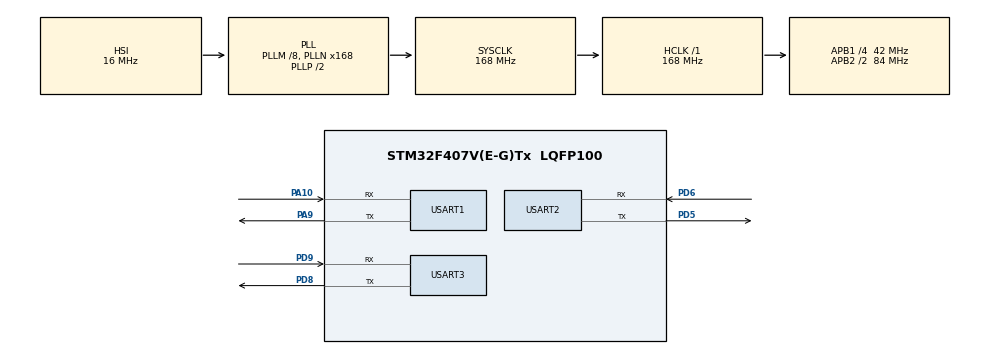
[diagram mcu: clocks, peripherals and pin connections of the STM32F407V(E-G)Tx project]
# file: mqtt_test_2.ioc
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FREERTOS.MEMORY_ALLOCATION=2
FREERTOS.Tasks01=defaultTask,0,2048,StartDefaultTask,As weak,NULL,Static,defaultTaskBuffer,defaultTaskControlBlock
FREERTOS.configENABLE_FPU=1
Mcu.Family=STM32F4
Mcu.Name=STM32F407V(E-G)Tx
Mcu.Package=LQFP100
NVIC.PriorityGroup=NVIC_PRIORITYGROUP_4
NVIC.TIM3_IRQn=true\:0\:0\:false\:false\:true\:false\:false\:true
NVIC.TimeBase=TIM3_IRQn
NVIC.TimeBaseIP=TIM3
NVIC.USART1_IRQn=true\:5\:0\:false\:false\:true\:true\:true\:true
NVIC.USART2_IRQn=true\:5\:0\:false\:false\:true\:true\:true\:true
NVIC.USART3_IRQn=true\:5\:0\:false\:false\:true\:true\:true\:true
PA10.Mode=Asynchronous
PA10.Signal=USART1_RX
PA13.Mode=JTAG_5_pins
PA13.Signal=SYS_JTMS-SWDIO
PA14.Mode=JTAG_5_pins
PA14.Signal=SYS_JTCK-SWCLK
PA15.Mode=JTAG_5_pins
PA15.Signal=SYS_JTDI
PA9.Mode=Asynchronous
PA9.Signal=USART1_TX
PB3.Mode=JTAG_5_pins
PB3.Signal=SYS_JTDO-SWO
PB4.Mode=JTAG_5_pins
PB4.Signal=SYS_JTRST
PD5.Mode=Asynchronous
PD5.Signal=USART2_TX
PD6.Mode=Asynchronous
PD6.Signal=USART2_RX
PD8.Mode=Asynchronous
PD8.Signal=USART3_TX
PD9.Mode=Asynchronous
PD9.Signal=USART3_RX
ProjectManager.HeapSize=0x200
ProjectManager.StackSize=0x400
ProjectManager.TargetToolchain=STM32CubeIDE
RCC.48MHZClocksFreq_Value=84000000
RCC.AHBFreq_Value=168000000
RCC.APB1CLKDivider=RCC_HCLK_DIV4
RCC.APB1Freq_Value=42000000
RCC.APB1TimFreq_Value=84000000
RCC.APB2CLKDivider=RCC_HCLK_DIV2
RCC.APB2Freq_Value=84000000
RCC.APB2TimFreq_Value=168000000
RCC.CortexFreq_Value=168000000
RCC.HCLKFreq_Value=168000000
RCC.HSE_VALUE=25000000
RCC.HSI_VALUE=16000000
RCC.LSE_VALUE=32768
RCC.PLLM=8
RCC.PLLN=168
RCC.SYSCLKFreq_VALUE=168000000
RCC.SYSCLKSource=RCC_SYSCLKSOURCE_PLLCLK
RCC.VCOOutputFreq_Value=336000000
USART1.VirtualMode=VM_ASYNC
USART2.VirtualMode=VM_ASYNC
USART3.VirtualMode=VM_ASYNC
VP_FREERTOS_VS_CMSIS_V1.Mode=CMSIS_V1
VP_SYS_VS_tim3.Mode=TIM3
board=custom

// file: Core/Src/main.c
/* USER CODE BEGIN Header */
/**
  ******************************************************************************
  * @file           : main.c123
  * @brief          : Main program body321
  ******************************************************************************
  * @attention
  *
  * <h2><center>&copy; Copyright (c) 2021 STMicroelectronics.xx
  * All rights reserved.</center></h2>
  *
  * This software component is licensed by ST under Ultimate Liberty license
  * SLA0044, the "License"; You may not use this file except in compliance with
  * the License. You may obtain a copy of the License at:
  *                             www.st.com/SLA0044
  *
  ******************************************************************************
  */
/* USER CODE END Header */

#include "main.h"
#include "cmsis_os.h"

/* USER CODE BEGIN Includes */
#include "core_mqtt.h"
#include <string.h>
/* USER CODE END Includes */

osThreadId defaultTaskHandle;
uint32_t defaultTaskBuffer[ 2048 ];
osStaticThreadDef_t defaultTaskControlBlock;

void SystemClock_Config(void);
static void MX_GPIO_Init(void);
static void MX_USART1_UART_Init(void);
static void MX_USART2_UART_Init(void);
static void MX_USART3_UART_Init(void);
void StartDefaultTask(void const * argument);

int main(void)
{

  /* MCU Configuration--------------------------------------------------------*/

  /* Reset of all peripherals, Initializes the Flash interface and the Systick. */
  HAL_Init();

  /* Configure the system clock */
  SystemClock_Config();

  /* Initialize all configured peripherals */
  MX_GPIO_Init();
  MX_USART1_UART_Init();
  MX_USART2_UART_Init();
  MX_USART3_UART_Init();

  /* Create the thread(s) */
  /* definition and creation of defaultTask */
  osThreadStaticDef(defaultTask, StartDefaultTask, osPriorityNormal, 0, 2048, defaultTaskBuffer, &defaultTaskControlBlock);
  defaultTaskHandle = osThreadCreate(osThread(defaultTask), NULL);

  /* Start scheduler */
  osKernelStart();

  /* We should never get here as control is now taken by the scheduler */
  /* Infinite loop */
  while (1)
  {

  }
}

void SystemClock_Config(void)
{
  RCC_OscInitTypeDef RCC_OscInitStruct = {0};
  RCC_ClkInitTypeDef RCC_ClkInitStruct = {0};

  /** Configure the main internal regulator output voltage
  */
  __HAL_RCC_PWR_CLK_ENABLE();
  __HAL_PWR_VOLTAGESCALING_CONFIG(PWR_REGULATOR_VOLTAGE_SCALE1);
  /** Initializes the CPU, AHB and APB busses clocks
  */
  RCC_OscInitStruct.OscillatorType = RCC_OSCILLATORTYPE_HSI;
  RCC_OscInitStruct.HSIState = RCC_HSI_ON;
  RCC_OscInitStruct.HSICalibrationValue = RCC_HSICALIBRATION_DEFAULT;
  RCC_OscInitStruct.PLL.PLLState = RCC_PLL_ON;
  RCC_OscInitStruct.PLL.PLLSource = RCC_PLLSOURCE_HSI;
  RCC_OscInitStruct.PLL.PLLM = 8;
  RCC_OscInitStruct.PLL.PLLN = 168;
  RCC_OscInitStruct.PLL.PLLP = RCC_PLLP_DIV2;
  RCC_OscInitStruct.PLL.PLLQ = 4;
  if (HAL_RCC_OscConfig(&RCC_OscInitStruct) != HAL_OK)
  {
    Error_Handler();
  }
  /** Initializes the CPU, AHB and APB busses clocks
  */
  RCC_ClkInitStruct.ClockType = RCC_CLOCKTYPE_HCLK|RCC_CLOCKTYPE_SYSCLK
                              |RCC_CLOCKTYPE_PCLK1|RCC_CLOCKTYPE_PCLK2;
  RCC_ClkInitStruct.SYSCLKSource = RCC_SYSCLKSOURCE_PLLCLK;
  RCC_ClkInitStruct.AHBCLKDivider = RCC_SYSCLK_DIV1;
  RCC_ClkInitStruct.APB1CLKDivider = RCC_HCLK_DIV4;
  RCC_ClkInitStruct.APB2CLKDivider = RCC_HCLK_DIV2;

  if (HAL_RCC_ClockConfig(&RCC_ClkInitStruct, FLASH_LATENCY_5) != HAL_OK)
  {
    Error_Handler();
  }
}

static void MX_USART1_UART_Init(void)
{

  LL_USART_InitTypeDef USART_InitStruct = {0};

  LL_GPIO_InitTypeDef GPIO_InitStruct = {0};

  /* Peripheral clock enable */
  LL_APB2_GRP1_EnableClock(LL_APB2_GRP1_PERIPH_USART1);

  LL_AHB1_GRP1_EnableClock(LL_AHB1_GRP1_PERIPH_GPIOA);
  /**USART1 GPIO Configuration
  PA9   ------> USART1_TX
  PA10   ------> USART1_RX
  */
  GPIO_InitStruct.Pin = LL_GPIO_PIN_9|LL_GPIO_PIN_10;
  GPIO_InitStruct.Mode = LL_GPIO_MODE_ALTERNATE;
  GPIO_InitStruct.Speed = LL_GPIO_SPEED_FREQ_VERY_HIGH;
  GPIO_InitStruct.OutputType = LL_GPIO_OUTPUT_PUSHPULL;
  GPIO_InitStruct.Pull = LL_GPIO_PULL_NO;
  GPIO_InitStruct.Alternate = LL_GPIO_AF_7;
  LL_GPIO_Init(GPIOA, &GPIO_InitStruct);

  /* USART1 interrupt Init */
  NVIC_SetPriority(USART1_IRQn, NVIC_EncodePriority(NVIC_GetPriorityGrouping(),5, 0));
  NVIC_EnableIRQ(USART1_IRQn);

  USART_InitStruct.BaudRate = 115200;
  USART_InitStruct.DataWidth = LL_USART_DATAWIDTH_8B;
  USART_InitStruct.StopBits = LL_USART_STOPBITS_1;
  USART_InitStruct.Parity = LL_USART_PARITY_NONE;
  USART_InitStruct.TransferDirection = LL_USART_DIRECTION_TX_RX;
  USART_InitStruct.HardwareFlowControl = LL_USART_HWCONTROL_NONE;
  USART_InitStruct.OverSampling = LL_USART_OVERSAMPLING_16;
  LL_USART_Init(USART1, &USART_InitStruct);
  LL_USART_ConfigAsyncMode(USART1);
  LL_USART_Enable(USART1);

}

static void MX_USART2_UART_Init(void)
{

  LL_USART_InitTypeDef USART_InitStruct = {0};

  LL_GPIO_InitTypeDef GPIO_InitStruct = {0};

  /* Peripheral clock enable */
  LL_APB1_GRP1_EnableClock(LL_APB1_GRP1_PERIPH_USART2);

  LL_AHB1_GRP1_EnableClock(LL_AHB1_GRP1_PERIPH_GPIOD);
  /**USART2 GPIO Configuration
  PD5   ------> USART2_TX
  PD6   ------> USART2_RX
  */
  GPIO_InitStruct.Pin = LL_GPIO_PIN_5|LL_GPIO_PIN_6;
  GPIO_InitStruct.Mode = LL_GPIO_MODE_ALTERNATE;
  GPIO_InitStruct.Speed = LL_GPIO_SPEED_FREQ_VERY_HIGH;
  GPIO_InitStruct.OutputType = LL_GPIO_OUTPUT_PUSHPULL;
  GPIO_InitStruct.Pull = LL_GPIO_PULL_NO;
  GPIO_InitStruct.Alternate = LL_GPIO_AF_7;
  LL_GPIO_Init(GPIOD, &GPIO_InitStruct);

  /* USART2 interrupt Init */
  NVIC_SetPriority(USART2_IRQn, NVIC_EncodePriority(NVIC_GetPriorityGrouping(),5, 0));
  NVIC_EnableIRQ(USART2_IRQn);

  USART_InitStruct.BaudRate = 115200;
  USART_InitStruct.DataWidth = LL_USART_DATAWIDTH_8B;
  USART_InitStruct.StopBits = LL_USART_STOPBITS_1;
  USART_InitStruct.Parity = LL_USART_PARITY_NONE;
  USART_InitStruct.TransferDirection = LL_USART_DIRECTION_TX_RX;
  USART_InitStruct.HardwareFlowControl = LL_USART_HWCONTROL_NONE;
  USART_InitStruct.OverSampling = LL_USART_OVERSAMPLING_16;
  LL_USART_Init(USART2, &USART_InitStruct);
  LL_USART_ConfigAsyncMode(USART2);
  LL_USART_Enable(USART2);

}

static void MX_USART3_UART_Init(void)
{

  LL_USART_InitTypeDef USART_InitStruct = {0};

  LL_GPIO_InitTypeDef GPIO_InitStruct = {0};

  /* Peripheral clock enable */
  LL_APB1_GRP1_EnableClock(LL_APB1_GRP1_PERIPH_USART3);

  LL_AHB1_GRP1_EnableClock(LL_AHB1_GRP1_PERIPH_GPIOD);
  /**USART3 GPIO Configuration
  PD8   ------> USART3_TX
  PD9   ------> USART3_RX
  */
  GPIO_InitStruct.Pin = LL_GPIO_PIN_8|LL_GPIO_PIN_9;
  GPIO_InitStruct.Mode = LL_GPIO_MODE_ALTERNATE;
  GPIO_InitStruct.Speed = LL_GPIO_SPEED_FREQ_VERY_HIGH;
  GPIO_InitStruct.OutputType = LL_GPIO_OUTPUT_PUSHPULL;
  GPIO_InitStruct.Pull = LL_GPIO_PULL_NO;
  GPIO_InitStruct.Alternate = LL_GPIO_AF_7;
  LL_GPIO_Init(GPIOD, &GPIO_InitStruct);

  /* USART3 interrupt Init */
  NVIC_SetPriority(USART3_IRQn, NVIC_EncodePriority(NVIC_GetPriorityGrouping(),5, 0));
  NVIC_EnableIRQ(USART3_IRQn);

  USART_InitStruct.BaudRate = 115200;
  USART_InitStruct.DataWidth = LL_USART_DATAWIDTH_8B;
  USART_InitStruct.StopBits = LL_USART_STOPBITS_1;
  USART_InitStruct.Parity = LL_USART_PARITY_NONE;
  USART_InitStruct.TransferDirection = LL_USART_DIRECTION_TX_RX;
  USART_InitStruct.HardwareFlowControl = LL_USART_HWCONTROL_NONE;
  USART_InitStruct.OverSampling = LL_USART_OVERSAMPLING_16;
  LL_USART_Init(USART3, &USART_InitStruct);
  LL_USART_ConfigAsyncMode(USART3);
  LL_USART_Enable(USART3);

}

static void MX_GPIO_Init(void)
{

  /* GPIO Ports Clock Enable */
  __HAL_RCC_GPIOD_CLK_ENABLE();
  __HAL_RCC_GPIOA_CLK_ENABLE();
  __HAL_RCC_GPIOB_CLK_ENABLE();

}

/* USER CODE BEGIN 4 */
// ima ovde jos dosta posla
// opa cupa
// 12345
#define democonfigCLIENT_IDENTIFIER "miloradpetrovic20210630"
#define mqttexampleTOPIC "miloradpetrovic20210630/example/topic"
#define mqttexampleMESSAGE "Hello World!"

#define mqttexampleKEEP_ALIVE_TIMEOUT_SECONDS (60U)
#define mqttexampleCONNACK_RECV_TIMEOUT_MS    (10000U)
#define mqttexamplePROCESS_LOOP_TIMEOUT_MS    (1000U)

#define mqttexampleSHARED_BUFFER_SIZE (500U)

static uint16_t usSubscribePacketIdentifier, usUnsubscribePacketIdentifier;

static uint8_t ucSharedBuffer[mqttexampleSHARED_BUFFER_SIZE];

static MQTTFixedBuffer_t xBuffer =
{
    .pBuffer = ucSharedBuffer,
    .size    = mqttexampleSHARED_BUFFER_SIZE
};

struct NetworkContext
{
	uint32_t dummy;
};

static NetworkContext_t Milorad_NetworkContext;

#define huartWiFiModule   huart3
#define huartBLEModule    huart2
#define huartLaptop       huart1

#define U32_RECEIVE_BUFFER_FOR_WIFI_MODULE_CAPACITY ((uint32_t)2048)
#define U32_TRANSMIT_BUFFER_FOR_WIFI_MODULE_CAPACITY ((uint32_t)2048)

/* wifi module receive buffer info */
volatile uint8_t vau8ReceiveBufferForWifiModuleData[U32_RECEIVE_BUFFER_FOR_WIFI_MODULE_CAPACITY];
volatile uint32_t vu32ReceiveBufferForWifiModuleFirstFreeSlot;
uint32_t u32ReceiveBufferForWifiModuleFirstFilledSlot;

int32_t i32InterruptHandlerImplementationForUSART3(void)
{
	/* Is a RXNE interrupt pending? */
	if (LL_USART_IsEnabledIT_RXNE(USART3) && LL_USART_IsActiveFlag_RXNE(USART3)) /* yes */
	{
		/* read the received byte */
		uint8_t u8ReceivedByteViaUART = LL_USART_ReceiveData8(USART3);

		/* insert recevied byte into receive buffer */
		vau8ReceiveBufferForWifiModuleData[vu32ReceiveBufferForWifiModuleFirstFreeSlot] = u8ReceivedByteViaUART;
		vu32ReceiveBufferForWifiModuleFirstFreeSlot++;
		if (vu32ReceiveBufferForWifiModuleFirstFreeSlot == U32_RECEIVE_BUFFER_FOR_WIFI_MODULE_CAPACITY)
		{
			vu32ReceiveBufferForWifiModuleFirstFreeSlot = (uint32_t)0;
		}
	}

	return (int32_t)0;
}

int32_t i32GetByteFromReceiveBufferForWifiModule(uint8_t* const cpu8ReceivedByte)
{
	NVIC_DisableIRQ(USART3_IRQn);
	uint32_t u32ReceiveBufferForWifiModuleFirstFreeSlotCurrent = vu32ReceiveBufferForWifiModuleFirstFreeSlot;
	NVIC_EnableIRQ(USART3_IRQn);

	if (u32ReceiveBufferForWifiModuleFirstFilledSlot == u32ReceiveBufferForWifiModuleFirstFreeSlotCurrent)
	{
		return (int32_t)0;
	}
	else
	{
		*cpu8ReceivedByte = vau8ReceiveBufferForWifiModuleData[u32ReceiveBufferForWifiModuleFirstFilledSlot];
		u32ReceiveBufferForWifiModuleFirstFilledSlot++;
		if (u32ReceiveBufferForWifiModuleFirstFilledSlot == U32_RECEIVE_BUFFER_FOR_WIFI_MODULE_CAPACITY)
		{
			u32ReceiveBufferForWifiModuleFirstFilledSlot = (uint32_t)0;
		}

		return (int32_t)1;
	}
}

int32_t i32TransmitByteArrayToWifiModule(const uint8_t* const cpcu8ByteArray, const uint32_t cu32Length)
{
	for (uint32_t u32Index = (uint32_t)0; u32Index < cu32Length; u32Index++)
	{
		LL_USART_TransmitData8(USART3, cpcu8ByteArray[u32Index]);
		while(!LL_USART_IsActiveFlag_TXE(USART3));
	}
	while(!LL_USART_IsActiveFlag_TC(USART3));

	return (int32_t)1;
}

int32_t i32TransmitByteArrayToLaptop(const uint8_t* const cpcu8ByteArray, const uint32_t cu32Length)
{
	for (uint32_t u32Index = (uint32_t)0; u32Index < cu32Length; u32Index++)
	{
		LL_USART_TransmitData8(USART1, cpcu8ByteArray[u32Index]);
		while(!LL_USART_IsActiveFlag_TXE(USART1));
	}
	while(!LL_USART_IsActiveFlag_TC(USART1));

	return (int32_t)1;
}

void vFlushWiFiModuleReceiveBufferToLaptop(void)
{
	uint8_t some_byte;
	while (i32GetByteFromReceiveBufferForWifiModule(&some_byte))
	{
		i32TransmitByteArrayToLaptop(&some_byte, 1);
	}
}

// Network send.
int32_t Milorad_Plaintext_send(NetworkContext_t* pContext, const void* pBuffer, size_t bytes )
{
	const uint8_t* pcu8DataToSend = (const uint8_t*)pBuffer;
	i32TransmitByteArrayToWifiModule(pcu8DataToSend, bytes);

	return bytes;
}

// Network receive.
int32_t Milorad_Plaintext_recv(NetworkContext_t* pContext, void* pBuffer, size_t bytes )
{

	uint32_t bytes_received = 0;
	uint8_t* pu8ReceivedData = (uint8_t*)pBuffer;

	uint8_t some_byte;
	uint32_t u32StartTime = xTaskGetTickCount();
	uint32_t u32CurrentTime = xTaskGetTickCount();
	while (u32CurrentTime - u32StartTime <= (uint32_t)100)
	{
		if (i32GetByteFromReceiveBufferForWifiModule(&some_byte))
		{
			pu8ReceivedData[bytes_received] = some_byte;
			bytes_received++;

			if (bytes_received == bytes)
			{
				break;
			}
		}
		u32CurrentTime = xTaskGetTickCount();
	}

	return bytes_received;
}

static void prvEventCallback( MQTTContext_t * pxMQTTContext,
                              MQTTPacketInfo_t * pxPacketInfo,
                              MQTTDeserializedInfo_t * pxDeserializedInfo )
{
    if( ( pxPacketInfo->type & 0xF0U ) == MQTT_PACKET_TYPE_PUBLISH )
    {
    	i32TransmitByteArrayToLaptop("Publish event happend!\r\n", sizeof("Publish event happend!\r\n"));
    	i32TransmitByteArrayToLaptop(pxDeserializedInfo->pPublishInfo->pPayload, pxDeserializedInfo->pPublishInfo->payloadLength);
    	i32TransmitByteArrayToLaptop("\r\n\r\n\r\n", sizeof("\r\n\r\n\r\n"));
    }
    else
    {
    	i32TransmitByteArrayToLaptop("'Else' event happend!\r\n", sizeof("'Else' event happend!\r\n"));
    }
}

/* USER CODE END 4 */

__weak void StartDefaultTask(void const * argument)
{
  /* USER CODE BEGIN 5 */
	/* enable Rx for WiFi module */
	LL_USART_EnableIT_RXNE(USART3);

	i32TransmitByteArrayToLaptop("Program started\r\n", sizeof("Program started\r\n"));
	osDelay(10000);
	i32TransmitByteArrayToLaptop("Go!\r\n", sizeof("Go!\r\n"));
	osDelay(1000);
	/* Infinite loop */
  for(;;)
  {
	  i32TransmitByteArrayToWifiModule("AT\r\n", sizeof("AT\r\n"));
	  osDelay(1000);
	  vFlushWiFiModuleReceiveBufferToLaptop();

	  i32TransmitByteArrayToWifiModule("AT+UART_CUR=115200,8,1,0,0\r\n", sizeof("AT+UART_CUR=115200,8,1,0,0\r\n"));
	  osDelay(1000);
	  vFlushWiFiModuleReceiveBufferToLaptop();

	  i32TransmitByteArrayToWifiModule("AT+UART_CUR?\r\n", sizeof("AT+UART_CUR?\r\n"));
	  osDelay(1000);
	  vFlushWiFiModuleReceiveBufferToLaptop();

	  i32TransmitByteArrayToWifiModule("AT+CWMODE=3\r\n", sizeof("AT+CWMODE=3\r\n"));
	  osDelay(1000);
	  vFlushWiFiModuleReceiveBufferToLaptop();

	  i32TransmitByteArrayToWifiModule("AT+CWJAP=\"51cf7b\",\"272089548\"\r\n", sizeof("AT+CWJAP=\"51cf7b\",\"272089548\"\r\n"));
	  osDelay(10000);
	  vFlushWiFiModuleReceiveBufferToLaptop();

	  i32TransmitByteArrayToWifiModule("AT+CIFSR\r\n", sizeof("AT+CIFSR\r\n"));
	  osDelay(5000);
	  vFlushWiFiModuleReceiveBufferToLaptop();

	  i32TransmitByteArrayToWifiModule("AT+CIPSTART=\"TCP\",\"broker.hivemq.com\",1883\r\n", sizeof("AT+CIPSTART=\"TCP\",\"broker.hivemq.com\",1883\r\n"));
	  osDelay(2000);
	  vFlushWiFiModuleReceiveBufferToLaptop();

	  i32TransmitByteArrayToWifiModule("AT+CIPMODE=1\r\n", sizeof("AT+CIPMODE=1\r\n"));
	  osDelay(2000);
	  vFlushWiFiModuleReceiveBufferToLaptop();

	  i32TransmitByteArrayToWifiModule("AT+CIPSEND\r\n", sizeof("AT+CIPSEND\r\n"));
	  osDelay(2000);
	  vFlushWiFiModuleReceiveBufferToLaptop();

		/* now comes the MQTT part */
		MQTTStatus_t xResult;
		MQTTContext_t xMQTTContext;
		MQTTConnectInfo_t xConnectInfo;
		TransportInterface_t xTransport;
		bool xSessionPresent;
		MQTTSubscribeInfo_t xMQTTSubscription;
		MQTTPublishInfo_t xMQTTPublishInfo;

	    xTransport.pNetworkContext = &Milorad_NetworkContext; /* #TBD */
	    xTransport.send = Milorad_Plaintext_send;
	    xTransport.recv = Milorad_Plaintext_recv;

	    xResult = MQTT_Init(&xMQTTContext, &xTransport, xTaskGetTickCount /*prvGetTimeMs*/, prvEventCallback, &xBuffer );
	    if (xResult != MQTTSuccess)
	    {
	    	while (1);
	    }

	    (void)memset((void*)&xConnectInfo, 0x00, sizeof(xConnectInfo));
	    xConnectInfo.cleanSession = true;
	    xConnectInfo.pClientIdentifier = democonfigCLIENT_IDENTIFIER;
	    xConnectInfo.clientIdentifierLength = (uint16_t)strlen(democonfigCLIENT_IDENTIFIER);
	    xConnectInfo.keepAliveSeconds = mqttexampleKEEP_ALIVE_TIMEOUT_SECONDS;

	    osDelay(3000);
	    xResult = MQTT_Connect( &xMQTTContext,
	                            &xConnectInfo,
	                            NULL,
	                            mqttexampleCONNACK_RECV_TIMEOUT_MS,
	                            &xSessionPresent);

	    osDelay(1000);
	    uint8_t bla[100];
	    Milorad_Plaintext_recv(NULL, bla, 1);

	    if (xResult != MQTTSuccess)
	    {
	    	osDelay(1000);
	    	while (1);
	    }

	    osDelay(1000);

	    (void)memset((void*)&xMQTTSubscription, 0x00, sizeof(xMQTTSubscription));
	    usSubscribePacketIdentifier = MQTT_GetPacketId(&xMQTTContext);
	    xMQTTSubscription.qos = MQTTQoS0;
	    xMQTTSubscription.pTopicFilter = mqttexampleTOPIC;
	    xMQTTSubscription.topicFilterLength = (uint16_t)strlen(mqttexampleTOPIC);

	    /* subscribe to given topic */
      xResult = MQTT_Subscribe( &xMQTTContext,
                                &xMQTTSubscription,
                                (uint32_t)1,
                                usSubscribePacketIdentifier);

	    if (xResult != MQTTSuccess)
	    {
	    	while (1);
	    }

      xResult = MQTT_ProcessLoop(&xMQTTContext, mqttexamplePROCESS_LOOP_TIMEOUT_MS);

      if (xResult != MQTTSuccess)
	    {
	    	while (1);
	    }

      /* publish given message to given topic */
      (void)memset((void*)&xMQTTPublishInfo, 0x00, sizeof(xMQTTPublishInfo));
      xMQTTPublishInfo.qos = MQTTQoS0;
      xMQTTPublishInfo.retain = false;
      xMQTTPublishInfo.pTopicName = mqttexampleTOPIC;
      xMQTTPublishInfo.topicNameLength = (uint16_t)strlen(mqttexampleTOPIC);
      xMQTTPublishInfo.pPayload = mqttexampleMESSAGE;
      xMQTTPublishInfo.payloadLength = strlen(mqttexampleMESSAGE);

      while(1)
      {
		  for (int i = 0; i < 100; i++)
		  {
			  uint8_t mqtt_message_to_publish[10];
			  mqtt_message_to_publish[0] = 'p';
			  mqtt_message_to_publish[1] = 'o';
			  mqtt_message_to_publish[2] = 'r';
			  mqtt_message_to_publish[3] = 'u';
			  mqtt_message_to_publish[4] = 'k';
			  mqtt_message_to_publish[5] = 'a';
			  mqtt_message_to_publish[6] = ':';
			  mqtt_message_to_publish[7] = '0' + (i / 10);
			  mqtt_message_to_publish[8] = '0' + (i % 10);
			  mqtt_message_to_publish[9] = 0;

			  xMQTTPublishInfo.pPayload = mqtt_message_to_publish;
			  xMQTTPublishInfo.payloadLength = (uint32_t)10;

			  xResult = MQTT_Publish(&xMQTTContext, &xMQTTPublishInfo, 0U);

			  if (xResult != MQTTSuccess)
				{
					while (1);
				}

			  xResult = MQTT_ProcessLoop(&xMQTTContext, mqttexamplePROCESS_LOOP_TIMEOUT_MS);

			  if (xResult != MQTTSuccess)
				{
					while (1);
				}

			  /* Leave the connection idle for some time. */
			  osDelay(1000);
		  }
      }

      /******************** Unsubscribe from the topic. *********************/
      (void)memset((void*)&xMQTTSubscription, 0x00, sizeof(xMQTTSubscription));
      usSubscribePacketIdentifier = MQTT_GetPacketId(&xMQTTContext);
      xMQTTSubscription.qos = MQTTQoS0;
      xMQTTSubscription.pTopicFilter = mqttexampleTOPIC;
      xMQTTSubscription.topicFilterLength = (uint16_t)strlen(mqttexampleTOPIC);
      usUnsubscribePacketIdentifier = MQTT_GetPacketId(&xMQTTContext);

      xResult = MQTT_Unsubscribe( &xMQTTContext,
                                  &xMQTTSubscription,
                                  1,
                                  usUnsubscribePacketIdentifier);

      if (xResult != MQTTSuccess)
	    {
	    	while (1);
	    }

      xResult = MQTT_ProcessLoop(&xMQTTContext, mqttexamplePROCESS_LOOP_TIMEOUT_MS);

      if (xResult != MQTTSuccess)
	    {
	    	while (1);
	    }

	  for(;;)
	  {
		  osDelay(1000);
		  i32TransmitByteArrayToLaptop(".", 1);
		  vFlushWiFiModuleReceiveBufferToLaptop();
	  }
  }
  /* USER CODE END 5 */
}

 /**
  * @brief  Period elapsed callback in non blocking mode
  * @note   This function is called  when TIM3 interrupt took place, inside
  * HAL_TIM_IRQHandler(). It makes a direct call to HAL_IncTick() to increment
  * a global variable "uwTick" used as application time base.
  * @param  htim : TIM handle
  * @retval None
  */
void HAL_TIM_PeriodElapsedCallback(TIM_HandleTypeDef *htim)
{
  if (htim->Instance == TIM3) {
    HAL_IncTick();
  }
}

void Error_Handler(void)
{
}

/************************ (C) COPYRIGHT STMicroelectronics *****END OF FILE****/

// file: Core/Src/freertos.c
/* USER CODE BEGIN Header */
/**
  ******************************************************************************
  * File Name          : freertos.c
  * Description        : Code for freertos applications
  ******************************************************************************
  * @attention
  *
  * <h2><center>&copy; Copyright (c) 2021 STMicroelectronics.
  * All rights reserved.</center></h2>
  *
  * This software component is licensed by ST under Ultimate Liberty license
  * SLA0044, the "License"; You may not use this file except in compliance with
  * the License. You may obtain a copy of the License at:
  *                             www.st.com/SLA0044
  *
  ******************************************************************************
  */
/* USER CODE END Header */

#include "FreeRTOS.h"
#include "task.h"
#include "main.h"

/* GetIdleTaskMemory prototype (linked to static allocation support) */
void vApplicationGetIdleTaskMemory( StaticTask_t **ppxIdleTaskTCBBuffer, StackType_t **ppxIdleTaskStackBuffer, uint32_t *pulIdleTaskStackSize );

/* USER CODE BEGIN GET_IDLE_TASK_MEMORY */
static StaticTask_t xIdleTaskTCBBuffer;
static StackType_t xIdleStack[configMINIMAL_STACK_SIZE];

void vApplicationGetIdleTaskMemory( StaticTask_t **ppxIdleTaskTCBBuffer, StackType_t **ppxIdleTaskStackBuffer, uint32_t *pulIdleTaskStackSize )
{
  *ppxIdleTaskTCBBuffer = &xIdleTaskTCBBuffer;
  *ppxIdleTaskStackBuffer = &xIdleStack[0];
  *pulIdleTaskStackSize = configMINIMAL_STACK_SIZE;
  /* place for user code */
}
/* USER CODE END GET_IDLE_TASK_MEMORY */

/* USER CODE BEGIN Application */
// nesto u freertos fajlu samo da ubacim...
/* USER CODE END Application */

/************************ (C) COPYRIGHT STMicroelectronics *****END OF FILE****/
